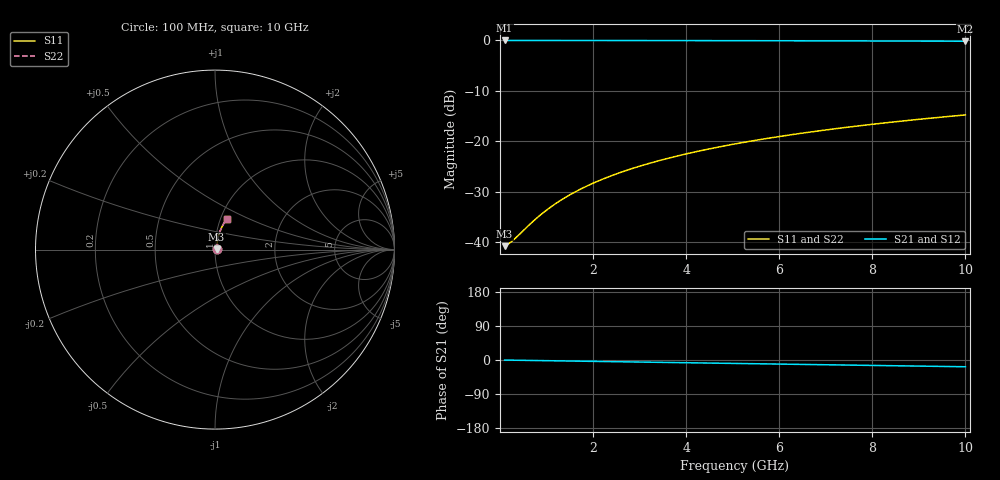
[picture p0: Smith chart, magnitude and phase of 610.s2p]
# Hz S RI R 50.00
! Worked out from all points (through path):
!   100 points, 100 MHz to 10 GHz, reference 50 ohm
!   highest |S21| = -0.08 dB at 100 MHz (marker M1); lowest = -0.2 dB at 10 GHz (marker M2)
!   group delay of S21, straight-line fit = 4.96 ps
!   lowest |S11| = -40.7 dB at 100 MHz (marker M3), VSWR 1.02, Z = 50.9 + j0.187 ohm
!   |S11| at or under -10 dB: start of sweep to end of sweep
!   |S22| runs from -40.7 to -14.8 dB; largest |S21 - S12| = 0
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1e8  0.00899 0.00184  0.991 -0.00312  0.991 -0.00312  0.00899 0.00184
2e8  0.00907 0.00368  0.9909 -0.00623  0.9909 -0.00623  0.00907 0.00368
3e8  0.00914 0.00551  0.9908 -0.00935  0.9908 -0.00935  0.00914 0.00551
7e8  0.00948 0.0129  0.9905 -0.0218  0.9905 -0.0218  0.00948 0.0129
8e8  0.00959 0.0147  0.9903 -0.0249  0.9903 -0.0249  0.00959 0.0147
1e9  0.00984 0.0184  0.9901 -0.0311  0.9901 -0.0311  0.00984 0.0184
1.2e9  0.0101 0.022  0.9897 -0.0374  0.9897 -0.0374  0.0101 0.022
1.4e9  0.0105 0.0257  0.9894 -0.0436  0.9894 -0.0436  0.0105 0.0257
1.6e9  0.0108 0.0293  0.9889 -0.0498  0.9889 -0.0498  0.0108 0.0293
1.8e9  0.0112 0.033  0.9885 -0.056  0.9885 -0.056  0.0112 0.033
2.1e9  0.012 0.0384  0.9877 -0.0653  0.9877 -0.0653  0.012 0.0384
2.5e9  0.0131 0.0457  0.9864 -0.0776  0.9864 -0.0776  0.0131 0.0457
2.9e9  0.0143 0.0529  0.9849 -0.09  0.9849 -0.09  0.0143 0.0529
3.4e9  0.0162 0.0619  0.9828 -0.1053  0.9828 -0.1053  0.0162 0.0619
3.8e9  0.0179 0.069  0.9809 -0.1176  0.9809 -0.1176  0.0179 0.069
4.2e9  0.0197 0.076  0.9788 -0.1298  0.9788 -0.1298  0.0197 0.076
5.1e9  0.0245 0.0917  0.9733 -0.157  0.9733 -0.157  0.0245 0.0917
5.9e9  0.0295 0.1054  0.9676 -0.1809  0.9676 -0.1809  0.0295 0.1054
6.7e9  0.0351 0.1188  0.9611 -0.2046  0.9611 -0.2046  0.0351 0.1188
7.5e9  0.0414 0.1318  0.9539 -0.2279  0.9539 -0.2279  0.0414 0.1318
8.4e9  0.0492 0.146  0.9449 -0.2537  0.9449 -0.2537  0.0492 0.146
1e10  0.0648 0.17  0.9267 -0.2982  0.9267 -0.2982  0.0648 0.17
